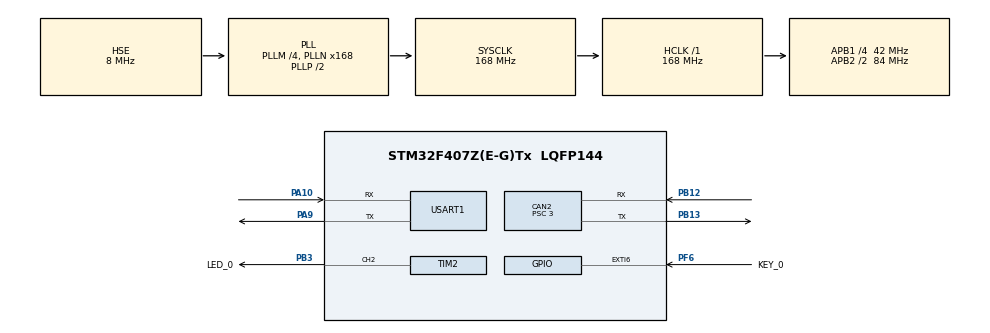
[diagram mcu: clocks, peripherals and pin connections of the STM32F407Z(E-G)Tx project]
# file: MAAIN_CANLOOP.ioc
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CAN2.BS1=CAN_BS1_10TQ
CAN2.BS2=CAN_BS2_3TQ
CAN2.CalculateBaudRate=1000000
CAN2.CalculateTimeBit=999.99
CAN2.CalculateTimeQuantum=71.42857142857143
CAN2.Prescaler=3
Dma.Request0=USART1_RX
Dma.Request1=USART1_TX
Dma.USART1_RX.0.Direction=DMA_PERIPH_TO_MEMORY
Dma.USART1_RX.0.FIFOMode=DMA_FIFOMODE_DISABLE
Dma.USART1_RX.0.Instance=DMA2_Stream2
Dma.USART1_RX.0.MemDataAlignment=DMA_MDATAALIGN_BYTE
Dma.USART1_RX.0.MemInc=DMA_MINC_ENABLE
Dma.USART1_RX.0.Mode=DMA_NORMAL
Dma.USART1_RX.0.PeriphDataAlignment=DMA_PDATAALIGN_BYTE
Dma.USART1_RX.0.PeriphInc=DMA_PINC_DISABLE
Dma.USART1_RX.0.Priority=DMA_PRIORITY_LOW
Dma.USART1_TX.1.Direction=DMA_MEMORY_TO_PERIPH
Dma.USART1_TX.1.FIFOMode=DMA_FIFOMODE_DISABLE
Dma.USART1_TX.1.Instance=DMA2_Stream7
Dma.USART1_TX.1.MemDataAlignment=DMA_MDATAALIGN_BYTE
Dma.USART1_TX.1.MemInc=DMA_MINC_ENABLE
Dma.USART1_TX.1.Mode=DMA_NORMAL
Dma.USART1_TX.1.PeriphDataAlignment=DMA_PDATAALIGN_BYTE
Dma.USART1_TX.1.PeriphInc=DMA_PINC_DISABLE
Dma.USART1_TX.1.Priority=DMA_PRIORITY_LOW
FREERTOS.Tasks01=defaultTask,0,128,StartDefaultTask,Default,NULL,Dynamic,NULL,NULL
Mcu.Family=STM32F4
Mcu.Name=STM32F407Z(E-G)Tx
Mcu.Package=LQFP144
NVIC.CAN2_RX0_IRQn=true\:1\:0\:true\:false\:true\:false\:true\:true
NVIC.DMA2_Stream2_IRQn=true\:5\:0\:false\:false\:true\:false\:false\:true
NVIC.DMA2_Stream7_IRQn=true\:0\:0\:true\:false\:true\:false\:false\:true
NVIC.EXTI9_5_IRQn=true\:0\:0\:true\:false\:true\:false\:true\:true
NVIC.HASH_RNG_IRQn=true\:5\:0\:false\:false\:true\:true\:true\:true
NVIC.PriorityGroup=NVIC_PRIORITYGROUP_4
NVIC.TIM2_IRQn=true\:5\:0\:false\:false\:true\:true\:true\:true
NVIC.USART1_IRQn=true\:2\:0\:true\:false\:true\:false\:true\:true
PA10.Mode=Asynchronous
PA10.Signal=USART1_RX
PA13.Mode=Serial_Wire
PA13.Signal=SYS_JTMS-SWDIO
PA14.Mode=Serial_Wire
PA14.Signal=SYS_JTCK-SWCLK
PA9.Mode=Asynchronous
PA9.Signal=USART1_TX
PB12.Mode=CAN_Activate
PB12.Signal=CAN2_RX
PB13.Mode=CAN_Activate
PB13.Signal=CAN2_TX
PB3.GPIO_Label=LED_0
PB3.GPIO_Speed=GPIO_SPEED_FREQ_VERY_HIGH
PB3.Signal=S_TIM2_CH2
PB8.Signal=CAN1_RX
PB9.Signal=CAN1_TX
PF6.GPIO_Label=KEY_0
PF6.GPIO_ModeDefaultEXTI=GPIO_MODE_IT_FALLING
PF6.GPIO_PuPd=GPIO_PULLUP
PF6.Signal=GPXTI6
PH0-OSC_IN.Mode=HSE-External-Oscillator
PH0-OSC_IN.Signal=RCC_OSC_IN
PH1-OSC_OUT.Mode=HSE-External-Oscillator
PH1-OSC_OUT.Signal=RCC_OSC_OUT
ProjectManager.HeapSize=0x200
ProjectManager.StackSize=0x400
ProjectManager.TargetToolchain=MDK-ARM V5
RCC.48MHZClocksFreq_Value=48000000
RCC.AHBFreq_Value=168000000
RCC.APB1CLKDivider=RCC_HCLK_DIV4
RCC.APB1Freq_Value=42000000
RCC.APB1TimFreq_Value=84000000
RCC.APB2CLKDivider=RCC_HCLK_DIV2
RCC.APB2Freq_Value=84000000
RCC.APB2TimFreq_Value=168000000
RCC.CortexFreq_Value=168000000
RCC.HCLKFreq_Value=168000000
RCC.HSE_VALUE=8000000
RCC.HSI_VALUE=16000000
RCC.LSE_VALUE=32768
RCC.PLLM=4
RCC.PLLN=168
RCC.PLLQ=7
RCC.PLLSourceVirtual=RCC_PLLSOURCE_HSE
RCC.SYSCLKFreq_VALUE=168000000
RCC.SYSCLKSource=RCC_SYSCLKSOURCE_PLLCLK
RCC.VCOOutputFreq_Value=336000000
SH.S_TIM2_CH2.0=TIM2_CH2,PWM Generation2 CH2
TIM2.Channel-PWM\ Generation2\ CH2=TIM_CHANNEL_2
TIM2.OCPolarity_2=TIM_OCPOLARITY_LOW
TIM2.Period=500
TIM2.Prescaler=84
USART1.VirtualMode=VM_ASYNC
VP_FREERTOS_VS_CMSIS_V1.Mode=CMSIS_V1
VP_RNG_VS_RNG.Mode=RNG_Activate
VP_TIM2_VS_ClockSourceINT.Mode=Internal
board=custom

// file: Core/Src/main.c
/* USER CODE BEGIN Header */
/**
  ******************************************************************************
  * @file           : main.c
  * @brief          : Main program body
  ******************************************************************************
  * @attention
  *
  * <h2><center>&copy; Copyright (c) 2022 STMicroelectronics.
  * All rights reserved.</center></h2>
  *
  * This software component is licensed by ST under BSD 3-Clause license,
  * the "License"; You may not use this file except in compliance with the
  * License. You may obtain a copy of the License at:
  *                        opensource.org/licenses/BSD-3-Clause
  *
  ******************************************************************************
  */
/* USER CODE END Header */
#include "main.h"
#include "cmsis_os.h"
#include "can.h"
#include "dma.h"
#include "rng.h"
#include "tim.h"
#include "usart.h"
#include "gpio.h"

/* USER CODE BEGIN Includes */
#include "FreeRTOS.h"
/* USER CODE END Includes */

/* USER CODE BEGIN PD */
extern motor_measure_t motor_chassis[];
extern UART_HandleTypeDef huart1;
extern uint8_t finish_flag;
extern uint8_t random_flag;

uint32_t rng_val = 0;
uint8_t Speed = 4;   //速度指令
uint8_t motor_num[] = {0, 8, 12, 16, 20};
/* USER CODE END PD */

void SystemClock_Config(void);
void MX_FREERTOS_Init(void);

/* USER CODE BEGIN 0 */
void HAL_GPIO_EXTI_Callback(uint16_t GPIO_Pin)
{
	if(GPIO_Pin == GPIO_PIN_6)
	{
		if(HAL_GPIO_ReadPin(GPIOF, GPIO_PIN_6) == 0)
		{
			if(finish_flag == FINISH_RESTORE)finish_flag = 0;
			random_flag = 1;
		}
	}
}
/* USER CODE END 0 */

int main(void)
{

  /* MCU Configuration--------------------------------------------------------*/

  /* Reset of all peripherals, Initializes the Flash interface and the Systick. */
  HAL_Init();

  /* Configure the system clock */
  SystemClock_Config();

  /* Initialize all configured peripherals */
  MX_GPIO_Init();
  MX_CAN2_Init();
  MX_DMA_Init();
  MX_USART1_UART_Init();
  MX_TIM2_Init();
  MX_RNG_Init();
  /* USER CODE BEGIN 2 */
	can_filter_init();
		/*开启串口空闲中断*/
	__HAL_UART_ENABLE_IT(&huart1, UART_IT_IDLE);

	/*启动串口DMA接收*/
	HAL_UART_Receive_DMA(&huart1,rx_buffer,BUFFER_SIZE);
  /* USER CODE END 2 */

  /* Call init function for freertos objects (in freertos.c) */
  MX_FREERTOS_Init();
  /* Start scheduler */
  osKernelStart();

  /* We should never get here as control is now taken by the scheduler */
  /* Infinite loop */
  while (1)
  {

    /* USER CODE BEGIN 3 */
//		CAN_cmd_motor(0x0D);
//		HAL_Delay(500);
//		if(recv_end_flag ==1)
//		{
//			HAL_UART_Transmit_DMA(&huart1,rx_buffer,rx_len);
//			rx_len=0;
//			recv_end_flag=0;
//			HAL_UART_Receive_DMA(&huart1,rx_buffer,BUFFER_SIZE);
//		}
//		CAN_cmd_motor(0x060000, Speed);
//		HAL_Delay(500);
//		CAN_cmd_motor(0x070000, Speed);
//		CAN_cmd_motor(0xD0);
//		HAL_Delay(500);
//		CAN_cmd_motor(0xD00);
//		HAL_Delay(500);
//		CAN_cmd_motor(0xD000);
////		HAL_Delay(500);
////		CAN_cmd_motor(0xD0000);
//		if( i < 4)
//		{
//			i++;
//			if(i == 1)MoID = MoID << 4;
//			MoID = MoID << 4;
//		}
//		else
//		{
//			i = 0;MoID = 0x4;
//		}
//		for(int i=0; i < 4; i++)
//		{
//			switch (i){
//				case 0:CAN_cmd_motor(0x060000, Speed);HAL_Delay(200);break;
//			  case 1:CAN_cmd_motor(0x000060, Speed);HAL_Delay(200);break;
//				case 2:CAN_cmd_motor(0x070000, Speed);HAL_Delay(200);break;
//				case 3:CAN_cmd_motor(0x000070, Speed);HAL_Delay(200);break;
//			}
//		}
		}
  /* USER CODE END 3 */
}

void SystemClock_Config(void)
{
  RCC_OscInitTypeDef RCC_OscInitStruct = {0};
  RCC_ClkInitTypeDef RCC_ClkInitStruct = {0};

  /** Configure the main internal regulator output voltage
  */
  __HAL_RCC_PWR_CLK_ENABLE();
  __HAL_PWR_VOLTAGESCALING_CONFIG(PWR_REGULATOR_VOLTAGE_SCALE1);
  /** Initializes the RCC Oscillators according to the specified parameters
  * in the RCC_OscInitTypeDef structure.
  */
  RCC_OscInitStruct.OscillatorType = RCC_OSCILLATORTYPE_HSE;
  RCC_OscInitStruct.HSEState = RCC_HSE_ON;
  RCC_OscInitStruct.PLL.PLLState = RCC_PLL_ON;
  RCC_OscInitStruct.PLL.PLLSource = RCC_PLLSOURCE_HSE;
  RCC_OscInitStruct.PLL.PLLM = 4;
  RCC_OscInitStruct.PLL.PLLN = 168;
  RCC_OscInitStruct.PLL.PLLP = RCC_PLLP_DIV2;
  RCC_OscInitStruct.PLL.PLLQ = 7;
  if (HAL_RCC_OscConfig(&RCC_OscInitStruct) != HAL_OK)
  {
    Error_Handler();
  }
  /** Initializes the CPU, AHB and APB buses clocks
  */
  RCC_ClkInitStruct.ClockType = RCC_CLOCKTYPE_HCLK|RCC_CLOCKTYPE_SYSCLK
                              |RCC_CLOCKTYPE_PCLK1|RCC_CLOCKTYPE_PCLK2;
  RCC_ClkInitStruct.SYSCLKSource = RCC_SYSCLKSOURCE_PLLCLK;
  RCC_ClkInitStruct.AHBCLKDivider = RCC_SYSCLK_DIV1;
  RCC_ClkInitStruct.APB1CLKDivider = RCC_HCLK_DIV4;
  RCC_ClkInitStruct.APB2CLKDivider = RCC_HCLK_DIV2;

  if (HAL_RCC_ClockConfig(&RCC_ClkInitStruct, FLASH_LATENCY_5) != HAL_OK)
  {
    Error_Handler();
  }
}

void Error_Handler(void)
{
  __disable_irq();
  while (1)
  {
  }
}

/************************ (C) COPYRIGHT STMicroelectronics *****END OF FILE****/

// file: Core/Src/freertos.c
/* USER CODE BEGIN Header */
/**
  ******************************************************************************
  * File Name          : freertos.c
  * Description        : Code for freertos applications
  ******************************************************************************
  * @attention
  *
  * <h2><center>&copy; Copyright (c) 2023 STMicroelectronics.
  * All rights reserved.</center></h2>
  *
  * This software component is licensed by ST under Ultimate Liberty license
  * SLA0044, the "License"; You may not use this file except in compliance with
  * the License. You may obtain a copy of the License at:
  *                             www.st.com/SLA0044
  *
  ******************************************************************************
  */
/* USER CODE END Header */

#include "FreeRTOS.h"
#include "task.h"
#include "main.h"
#include "cmsis_os.h"

/* USER CODE BEGIN Includes */
#include "usart.h"
#include "bsp_can.h"
#include "CAN_receive.h"
#include "struct_typedef.h"
/* USER CODE END Includes */

/* USER CODE BEGIN PD */
uint32_t commond_buffer[24] = {0x000004, 0x000005, 0x000006, 0x000007, 0x000040, 0x000050, 0x000060, 0x000070, 0x000400, 0x000500, 0x000600, 0x000700,
														 0x004000, 0x005000, 0x006000, 0x007000, 0x040000, 0x050000, 0x060000, 0x070000, 0x400000, 0x500000, 0x600000, 0x700000};
uint8_t order_buffer[100] = {0};
uint8_t finish_flag = 0;
uint8_t random_flag = 0;

extern TIM_HandleTypeDef htim2;
/* USER CODE END PD */

/* USER CODE BEGIN Variables */
osThreadId DMA_RXTaskHandle;
osThreadId RED_LEDTask;
osThreadId Order_dectTaskHandle;
osThreadId Random_moveTaskHandle;
/* USER CODE END Variables */
osThreadId defaultTaskHandle;

/* USER CODE BEGIN FunctionPrototypes */
void DMA_RX(void const * argument);
void Redled_Toggle(void const * argument);
void Order_dect(void const * argument);
void Random_move(void const * argument);
/* USER CODE END FunctionPrototypes */

void StartDefaultTask(void const * argument);

void MX_FREERTOS_Init(void); /* (MISRA C 2004 rule 8.1) */

/* GetIdleTaskMemory prototype (linked to static allocation support) */
void vApplicationGetIdleTaskMemory( StaticTask_t **ppxIdleTaskTCBBuffer, StackType_t **ppxIdleTaskStackBuffer, uint32_t *pulIdleTaskStackSize );

/* USER CODE BEGIN GET_IDLE_TASK_MEMORY */
static StaticTask_t xIdleTaskTCBBuffer;
static StackType_t xIdleStack[configMINIMAL_STACK_SIZE];

void vApplicationGetIdleTaskMemory( StaticTask_t **ppxIdleTaskTCBBuffer, StackType_t **ppxIdleTaskStackBuffer, uint32_t *pulIdleTaskStackSize )
{
  *ppxIdleTaskTCBBuffer = &xIdleTaskTCBBuffer;
  *ppxIdleTaskStackBuffer = &xIdleStack[0];
  *pulIdleTaskStackSize = configMINIMAL_STACK_SIZE;
  /* place for user code */
}
/* USER CODE END GET_IDLE_TASK_MEMORY */

void MX_FREERTOS_Init(void) {

  /* Create the thread(s) */
  /* definition and creation of defaultTask */
  osThreadDef(defaultTask, StartDefaultTask, osPriorityNormal, 0, 128);
  defaultTaskHandle = osThreadCreate(osThread(defaultTask), NULL);

  /* USER CODE BEGIN RTOS_THREADS */
  /* add threads, ... */
	osThreadDef(DMA_RXTask, DMA_RX, osPriorityNormal, 0, 128);
  DMA_RXTaskHandle = osThreadCreate(osThread(DMA_RXTask), NULL);

	osThreadDef(RED_LEDTask, Redled_Toggle, osPriorityNormal, 0, 64);
  RED_LEDTask = osThreadCreate(osThread(RED_LEDTask), NULL);

	osThreadDef(Order_detectTask, Order_dect, osPriorityNormal, 0, 128);
  Order_dectTaskHandle = osThreadCreate(osThread(Order_detectTask), NULL);

	osThreadDef(Random_moveTask, Random_move, osPriorityNormal, 0, 128);
  Random_moveTaskHandle = osThreadCreate(osThread(Random_moveTask), NULL);
  /* USER CODE END RTOS_THREADS */

}

void StartDefaultTask(void const * argument)
{
	for(;;)
	{
    osDelay(1);
	}
}

/* USER CODE BEGIN Application */
void DMA_RX(void const * argument)
{
  /* USER CODE BEGIN StartDefaultTask */
  /* Receive loop */
	for(;;)
	{
		if(recv_end_flag ==1)
		{
			//HAL_UART_Transmit_DMA(&huart1,rx_buffer,rx_len);
			rx_len=0;
			recv_end_flag=0;
			HAL_UART_Receive_DMA(&huart1,rx_buffer,BUFFER_SIZE);
			if(rx_buffer[0] == 0x40)
			{
				for(uint8_t i=0; rx_buffer[i] != 0x5A; i++)
				{
					order_buffer[i] = rx_buffer[i];
				}
				finish_flag = 0;
			}
		}
		osDelay(500);
	}
  /* USER CODE END StartDefaultTask */
}

void Order_dect(void const * argument)
{
  /* USER CODE BEGIN StartDefaultTask */
	static uint32_t Motor_move = 0;
	static uint16_t order_index = 0;
  /* Toggle loop */
	for(;;)
	{
		if(order_buffer[0] == 0x40 && finish_flag == READY_RESTORE)  						//当指令集的起始位等于@，且完成标志符为0，进入还原进程
		{
			Motor_move = 0;
			printf("receive restore order:'%s'\r\n", order_buffer);
			finish_flag = 2;                           						//运行中
			for(uint8_t i=1; order_buffer[i] != 0; i++)
			{
				order_index = order_buffer[i]-0x41;
				Motor_move = commond_buffer[order_index];
				CAN_cmd_motor(Motor_move, 20);
				osDelay(250);
			}
			finish_flag = 1;																			//完成
			for(uint8_t a=0; a < 50; a++)
			{
				order_buffer[a] = 0;
			}
		}

		else if(order_buffer[0] == 0x3F && finish_flag == READY_RESTORE)  			//当指令集的起始位等于？，且完成标志符为0，进入随机打乱进程
		{
			Motor_move = 0;
			printf("receive random order:'%s'\r\n", order_buffer);
			finish_flag = 2;                                			//运行中
			for(uint8_t i=1; order_buffer[i] != '0'; i++)
			{
				order_index = order_buffer[i]-0x41;
				Motor_move = commond_buffer[order_index];
				CAN_cmd_motor(Motor_move, 5);
				osDelay(600);
			}
			finish_flag = 1;																			//完成
			for(uint8_t a=0; a < 50; a++)
				order_buffer[a] = 0;
		}
		osDelay(300);
	}
  /* USER CODE END StartDefaultTask */
}

void Random_move(void const * argument)
{
  /* USER CODE BEGIN StartDefaultTask */
  /* Toggle loop */
	static uint32_t rng_val = 0;
	for(;;)
	{
		if(random_flag && finish_flag != RUNING_RESTORE)     								//判断打乱指令，且不在电机运行
		{
			order_buffer[0] = '?' ;
			order_buffer[21] = 'Z';
			for(uint8_t i=1; i < 21; i++)
			{
			//rng_val = HAL_RNG_GetRandomNumber(&hrng);
			rng_val = rng_val % 24;
			order_buffer[i] = rng_val + 'A';
			//printf("KEY_0->RNG_GetRandomNumber:%lu\r\n",rng_val);
			}
			if(random_flag == 1) random_flag = 0;
		}
		osDelay(500);
	}
  /* USER CODE END StartDefaultTask */
}

void Redled_Toggle(void const * argument)
{
  /* USER CODE BEGIN StartDefaultTask */
  /* Toggle loop */
	static uint16_t led_value = 0;
	for(;;)
	{
		while (led_value < 500)
	  {
		  led_value++;
		  __HAL_TIM_SetCompare(&htim2, TIM_CHANNEL_2, led_value);    //修改比较值，修改占空比
//		  TIM1->CCR1 = pwm_value;    //与上方作用相同，直接修改寄存器
		  osDelay(10);
	  }
	  while (led_value > 5)
	  {
		  led_value--;
		  __HAL_TIM_SetCompare(&htim2, TIM_CHANNEL_2, led_value);    //修改比较值，修改占空比
//		  TIM1->CCR1 = pwmVal;    	 //与上方作用相同，直接修改寄存器
		  osDelay(10);
	  }
		osDelay(100);
	}
  /* USER CODE END StartDefaultTask */
}
/* USER CODE END Application */

/************************ (C) COPYRIGHT STMicroelectronics *****END OF FILE****/
